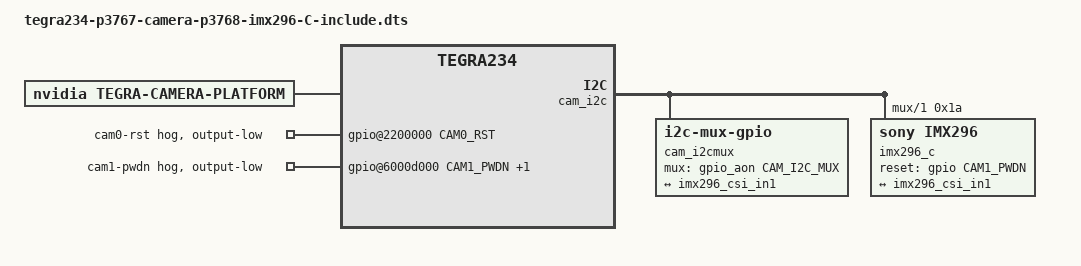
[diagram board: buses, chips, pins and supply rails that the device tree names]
// SPDX-License-Identifier: GPL-2.0-only
// SPDX-FileCopyrightText: Copyright (c) 2023-2024 NVIDIA CORPORATION & AFFILIATES. All rights reserved.

/dts-v1/;
/plugin/;

#define CAM0_RST	TEGRA234_MAIN_GPIO(H, 3)
#define CAM0_PWDN	TEGRA234_MAIN_GPIO(H, 6)
#define CAM1_PWDN	TEGRA234_MAIN_GPIO(AC, 0)
#define CAM_I2C_MUX 	TEGRA234_AON_GPIO(CC, 3)

#include <dt-bindings/tegra234-p3767-0000-common.h>

/ {
	overlay-name = "Camera IMX296-C (include)";
	jetson-header-name = "Jetson 22pin CSI Connector";
	compatible = JETSON_COMPATIBLE_P3768;

	/* IMX296 sensor module on CSI PORT B / cam0 */
	fragment@0 {
		target-path = "/";
		__overlay__ {
			tegra-capture-vi  {
				num-channels = <1>;
				ports {
					#address-cells = <1>;
					#size-cells = <0>;
					vi_port1: port@1 {
						reg = <0>;
						imx296_vi_in1: endpoint {
							port-index = <2>;
							bus-width = <1>;
							remote-endpoint = <&imx296_csi_out1>;
						};
					};
				};
			};
			tegra-camera-platform {
				compatible = "nvidia, tegra-camera-platform";
				/**
				 * The general guideline for naming badge_info contains 3 parts, and is as follows,
				 * The first part is the camera_board_id for the module; if the module is in a FFD
				 * platform, then use the platform name for this part.
				 * The second part contains the position of the module, ex. "rear" or "front".
				 * The third part contains the last 6 characters of a part number which is found
				 * in the module's specsheet from the vendor.
				 */
				modules {
					cam_module1: module1 {
						badge = "jakku_rear_RBP296";
						position = "rear";
						orientation = "1";
						cam_module1_drivernode0: drivernode0 {
							pcl_id = "v4l2_sensor";
							sysfs-device-tree = "/sys/firmware/devicetree/base/bus@0/cam_i2cmux/i2c@1/imx296_c@1a";
						};
					};
				};
			};
			bus@0 {
				host1x@13e00000 {
					nvcsi@15a00000 {
						num-channels = <1>;
						#address-cells = <1>;
						#size-cells = <0>;
						csi_chan1: channel@1 {
							reg = <0>;
							ports {
								#address-cells = <1>;
								#size-cells = <0>;
								csi_chan1_port0: port@0 {
									reg = <0>;
									imx296_csi_in1: endpoint@2 {
										port-index = <2>;
										bus-width = <1>;
										remote-endpoint = <&imx296_out1>;
									};
								};
								csi_chan1_port1: port@1 {
									reg = <1>;
									imx296_csi_out1: endpoint@3 {
										remote-endpoint = <&imx296_vi_in1>;
									};
								};
							};
						};
					};
				};
				cam_i2cmux {
					status = "okay";
					compatible = "i2c-mux-gpio";
					#address-cells = <1>;
					#size-cells = <0>;
					mux-gpios = <&gpio_aon CAM_I2C_MUX GPIO_ACTIVE_HIGH>;
					i2c-parent = <&cam_i2c>;
					i2c@0 {
						imx296_a@1a {
							status = "disabled";
						};
					};
					i2c@1 {
						status = "okay";
						reg = <1>;
						#address-cells = <1>;
						#size-cells = <0>;
						imx296_c@1a {
							reset-gpios = <&gpio CAM1_PWDN GPIO_ACTIVE_HIGH>;
							compatible = "sony,imx296";
							/* I2C device address */
							reg = <0x1a>;
							/* V4L2 device node location */
							devnode = "video0";
							/* Physical dimensions of sensor */
							physical_w = "4.968";
							physical_h = "3.726";
							sensor_model = "imx296";
							use_sensor_mode_id = "true";
							#include "tegra234-p3767-camera-p3768-imx296-mode.dtsi"
							ports {
								#address-cells = <1>;
								#size-cells = <0>;
								port@0 {
									reg = <0>;
									imx296_out1: endpoint {
										status = "okay";
										port-index = <2>;
										bus-width = <1>;
										remote-endpoint = <&imx296_csi_in1>;
									};
								};
							};
						};
					};
				};
				gpio@2200000 {
					camera-control-output-low {
						gpio-hog;
						output-low;
						gpios = <CAM0_RST 0>;
						label = "cam0-rst";
					};
				};
				gpio@6000d000 {
					camera-control-output-low {
						gpio-hog;
						output-low;
						gpios = < CAM1_PWDN 0  CAM0_PWDN 0>;
						label = "cam1-pwdn", "cam0-pwdn";
					};
				};
			};
		};
	};
};
